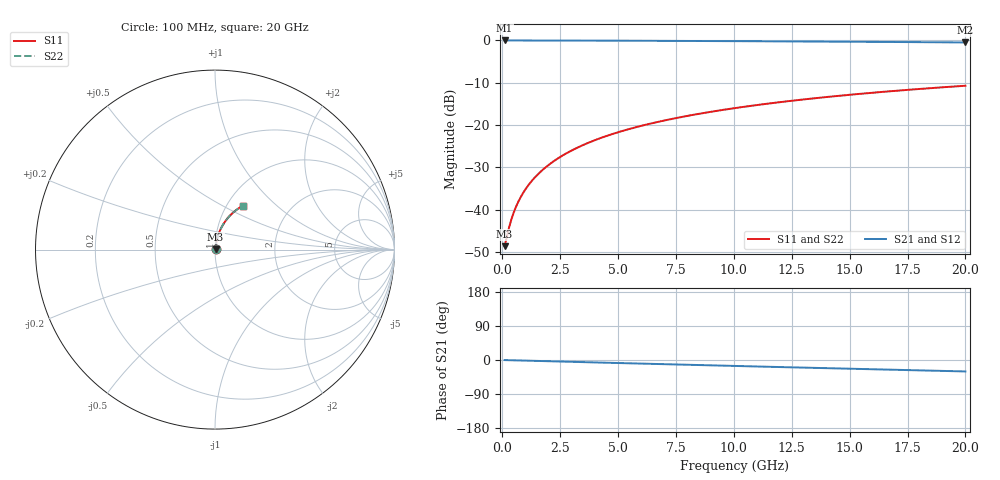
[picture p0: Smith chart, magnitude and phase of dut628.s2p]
! Touchstone file exported from HFSS 2026.1.0
!  File:  C:/ffzhzh/LocalFiles/Ansys_Project_Files/temp_train_BSMRDL_628_1783016531_53980.aedt
!  Generated:  02:23:27 AM Jul  3, 2026
!  Design:  BSMRDL
!  Project:  temp_train_BSMRDL_628_1783016531_53980
! Variables:
!  h_bsmrdl = 4.83um
!  h_ox = 20um
!  h_rdl = 5um
!  h_sub = 80um
!  h_tmrdl = 5um
!  h_tsv = 80um
!  h_via = 3um
!  l_bsmrdl = 444.97um
!  l_sub = 844.97um
!  l_tmrdl = 200um
!  m_sub = 200um
!  pitch = 28.13um
!  r_tsv = 6um
!  s_tmrdl = 10um
!  w_bsmrdl = 10.2um
!  w_sub = 500um
!  w_tmrdl = 12um
!  x_tsv_center1 = 206um
!  x_tsv_center2 = 661.17um
!  x_tsv_center3 = 873.17um
!  x_tsv_center4 = 1328.34um
!  x_tsv_center5 = 1540.34um
!  x_tsv_center6 = 1995.51um
# GHz S MA R 50.000000
! Terminal data exported
! Port[1] = BSM_RDL1_1_T1
! Port[2] = BSM_RDL1_1_T2
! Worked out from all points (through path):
!   200 points, 100 MHz to 20 GHz, reference 50 ohm
!   highest |S21| = -0.03 dB at 100 MHz (marker M1); lowest = -0.5 dB at 20 GHz (marker M2)
!   group delay of S21, straight-line fit = 4.19 ps
!   lowest |S11| = -48.6 dB at 100 MHz (marker M3), VSWR 1.01, Z = 50.3 + j0.178 ohm
!   |S11| at or under -10 dB: start of sweep to end of sweep
!   |S22| runs from -48.6 to -10.7 dB; largest |S21 - S12| = 5e-15
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0.1  0.003705 28.5  0.9967 -0.2  0.9967 -0.2  0.003705 28.5
! Gamma 0 0 0 0
! Port Impedance 50 0 50 0
0.3  0.00626 56.9  0.9966 -0.5  0.9966 -0.5  0.006259 56.9
0.4  0.007785 63.0  0.9965 -0.7  0.9965 -0.7  0.007784 63.0
0.5  0.009353 67.0  0.9964 -0.8  0.9964 -0.8  0.009352 67.0
0.6  0.01094 69.9  0.9964 -1.0  0.9964 -1.0  0.01094 69.9
0.7  0.01254 71.9  0.9963 -1.1  0.9963 -1.1  0.01254 71.9
0.9  0.01577 74.8  0.9962 -1.5  0.9962 -1.5  0.01577 74.8
1.2  0.02065 77.2  0.996 -1.9  0.996 -1.9  0.02065 77.2
1.4  0.02392 78.2  0.9958 -2.3  0.9958 -2.3  0.02391 78.2
1.7  0.02883 79.1  0.9956 -2.7  0.9956 -2.7  0.02883 79.1
2.2  0.03703 79.8  0.9951 -3.6  0.9951 -3.6  0.03702 79.8
2.8  0.04683 79.8  0.9943 -4.5  0.9943 -4.5  0.04683 79.8
3.5  0.05818 79.4  0.9933 -5.6  0.9933 -5.6  0.05818 79.4
4.2  0.06942 78.7  0.9921 -6.7  0.9921 -6.7  0.06942 78.7
5  0.0821 77.8  0.9906 -8.0  0.9906 -8.0  0.0821 77.8
5.9  0.09617 76.7  0.9887 -9.4  0.9887 -9.4  0.09617 76.7
6.8  0.11 75.5  0.9867 -10.8  0.9867 -10.8  0.11 75.5
8.3  0.1327 73.4  0.983 -13.1  0.983 -13.1  0.1327 73.4
10.1  0.1592 70.9  0.9781 -15.8  0.9781 -15.8  0.1592 70.9
13.4  0.2058 66.4  0.9681 -20.7  0.9681 -20.7  0.2058 66.4
16.7  0.2498 61.8  0.9567 -25.5  0.9567 -25.5  0.2498 61.8
20  0.2909 57.4  0.9444 -30.2  0.9444 -30.2  0.2909 57.4
